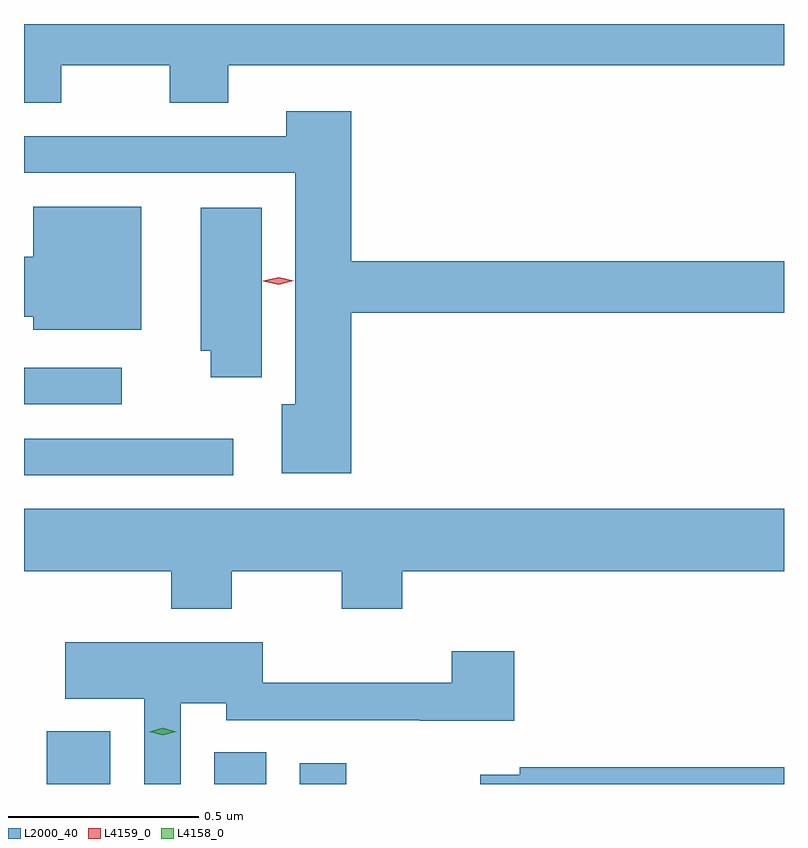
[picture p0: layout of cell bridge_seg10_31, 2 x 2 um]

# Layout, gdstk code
import gdstk
lib = gdstk.Library(unit=1e-6, precision=1e-09)
def R(c, l, rs):  # rectangles x0, y0, x1, y1
    for r in rs: c.add(gdstk.rectangle(r[:2], r[2:], *l))
def P(c, l, *ps):  # polygons
    for p in ps: c.add(gdstk.Polygon(p, *l))
L2000_40 = (2000, 40)
L4158_0 = (4158, 0)
L4159_0 = (4159, 0)

bridge_seg10_31 = lib.new_cell('bridge_seg10_31')
R(bridge_seg10_31, L2000_40, [(947.468,1285.104,947.635,1285.243), (947.909,1285.104,948.046,1285.187), (948.134,1285.104,948.256,1285.159), (947.408,1285.917,947.959,1286.013), (947.408,1286.103,947.665,1286.199)])
P(bridge_seg10_31, L2000_40, [(947.506,1286.996),(947.792,1286.996),(947.792,1286.897),(947.945,1286.897),(947.945,1286.996),(949.408,1286.996),(949.408,1287.104),(947.408,1287.104),(947.408,1286.897),(947.506,1286.897)],
  [(948.269,1286.344),(949.408,1286.344),(949.408,1286.48),(948.269,1286.48),(948.269,1286.875),(948.098,1286.875),(948.098,1286.808),(947.408,1286.808),(947.408,1286.712),(948.122,1286.712),(948.122,1286.104),(948.086,1286.104),(948.086,1285.922),(948.269,1285.922)],
  [(947.716,1286.623),(947.432,1286.623),(947.432,1286.491),(947.408,1286.491),(947.408,1286.333),(947.432,1286.333),(947.432,1286.3),(947.716,1286.3)],
  [(948.034,1286.62),(947.873,1286.62),(947.873,1286.244),(947.9,1286.244),(947.9,1286.175),(948.034,1286.175)],
  [(947.955,1285.664),(948.244,1285.664),(948.244,1285.565),(948.404,1285.565),(948.404,1285.664),(949.408,1285.664),(949.408,1285.828),(947.408,1285.828),(947.408,1285.664),(947.795,1285.664),(947.795,1285.565),(947.955,1285.565)],
  [(947.82,1285.316),(947.94,1285.316),(947.94,1285.272),(948.449,1285.272),(948.449,1285.271),(948.698,1285.271),(948.698,1285.453),(948.533,1285.453),(948.533,1285.37),(948.036,1285.37),(948.036,1285.477),(947.517,1285.477),(947.517,1285.328),(947.724,1285.328),(947.724,1285.104),(947.82,1285.104)],
  [(949.408,1285.148),(948.712,1285.148),(948.712,1285.129),(948.609,1285.129),(948.609,1285.104),(949.408,1285.104)])
P(bridge_seg10_31, L4158_0, [(947.773,1285.232),(947.738,1285.242),(947.738,1285.242),(947.738,1285.242),(947.773,1285.252),(947.808,1285.242),(947.808,1285.242),(947.808,1285.242)])
P(bridge_seg10_31, L4159_0, [(948.078,1286.418),(948.038,1286.427),(948.038,1286.428),(948.038,1286.428),(948.078,1286.438),(948.118,1286.429),(948.118,1286.429),(948.118,1286.429)])

lib.write_gds('bridge_seg10_31.gds')
